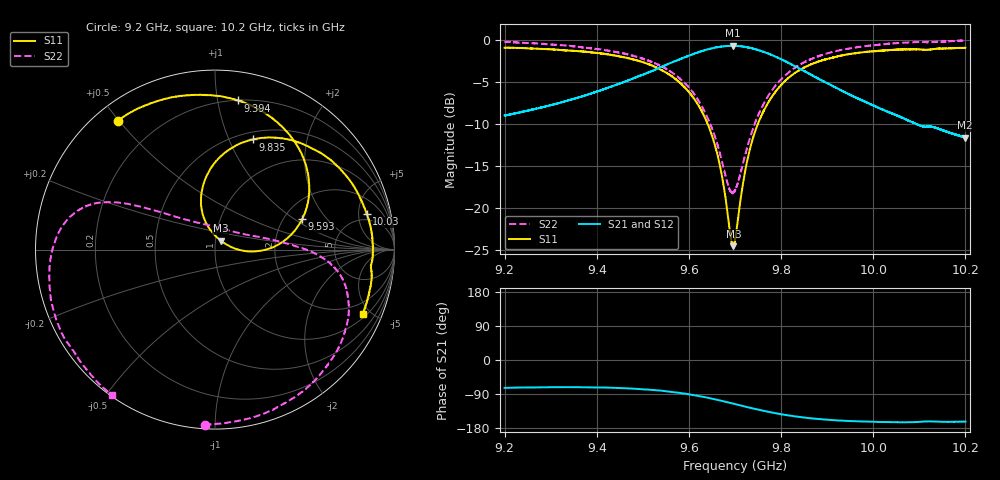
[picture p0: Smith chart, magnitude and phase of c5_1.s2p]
!Agilent Technologies,N5242A,MY51221714,A.09.90.19
!Agilent N5242A: A.09.90.19
!Date: Saturday, March 16, 2024 10:01:34
!Correction: S11(Full 2 Port(1,2))
!S21(Full 2 Port(1,2))
!S12(Full 2 Port(1,2))
!S22(Full 2 Port(1,2))
!S2P File: Measurements: S11, S21, S12, S22:
# Hz S  dB  R 50
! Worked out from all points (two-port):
!   16001 points, 9.2 GHz to 10.2 GHz, reference 50 ohm
!   highest |S21| = -0.69 dB at 9.696 GHz (marker M1); lowest = -11.6 dB at 10.2 GHz (marker M2)
!   |S21| within 3 dB of the highest: 9.52028 GHz to 9.520356 GHz (76.01 kHz wide, 0.000798 % of centre); 9.52 GHz to 9.85 GHz (329.3 MHz wide, 3.4 % of centre)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
!   lowest |S11| = -24.6 dB at 9.697 GHz (marker M3), VSWR 1.13, Z = 53.1 + j5.22 ohm
!   |S11| at or under -10 dB: 9.641 GHz to 9.75 GHz (108.9 MHz wide, 1.12 % of centre)
!   |S22| runs from -18.3 to -0.1 dB; largest |S21 - S12| = 0.012
!   S11 on the Smith chart (normalised r, x): 9.2 GHz: 0.07, +0.50; 9.394 GHz: 0.20, +1.14; 9.593 GHz: 2.51, +1.15; 9.835 GHz: 0.58, +1.23; 10.03 GHz: 3.95, +6.28; 10.2 GHz: 1.21, -4.47
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9.2e9  -0.93 126.9  -9.01 -73.5  -9.00 -74.1  -0.21 -93.4
9.277625e9  -1.06 109.4  -8.08 -72.1  -8.06 -72.6  -0.44 -72.0
9.366688e9  -1.37 88.3  -6.76 -71.9  -6.73 -72.4  -0.86 -48.5
9.394e9  -1.51 81.4  -6.26 -72.1  -6.25 -72.8  -1.03 -41.5
9.463812e9  -2.12 62.3  -4.91 -74.7  -4.90 -75.2  -1.67 -25.4
9.533375e9  -3.38 40.7  -3.37 -80.2  -3.36 -80.7  -2.94 -11.4
9.593188e9  -5.78 19.2  -2.02 -89.2  -2.01 -89.7  -5.27 -1.6
9.653e9  -11.92 -1.4  -0.96 -102.8  -0.95 -103.3  -10.99 13.2
9.695875e9  -24.52 52.0  -0.69 -115.0  -0.67 -115.7  -18.20 78.7
9.696562e9  -24.58 56.0  -0.70 -115.3  -0.68 -115.9  -18.20 80.6
9.7e9  -23.90 72.2  -0.71 -116.3  -0.68 -116.9  -17.98 90.4
9.72375e9  -15.15 109.2  -0.83 -123.5  -0.82 -124.1  -13.38 131.1
9.7475e9  -10.30 104.7  -1.16 -130.2  -1.14 -130.8  -9.34 144.0
9.785188e9  -6.38 90.5  -1.92 -139.7  -1.92 -140.4  -5.62 151.5
9.8355e9  -3.75 70.9  -3.28 -149.5  -3.27 -150.2  -3.11 158.1
9.866688e9  -2.87 59.8  -4.20 -154.1  -4.19 -154.7  -2.25 162.4
9.949188e9  -1.67 34.5  -6.52 -161.0  -6.51 -161.6  -1.01 176.8
1.0031e10  -1.23 13.1  -8.55 -163.9  -8.54 -164.3  -0.46 -165.9
1.003338e10  -1.22 12.5  -8.61 -163.8  -8.59 -164.4  -0.44 -165.4
1.010419e10  -1.14 -4.1  -10.25 -163.0  -10.25 -163.5  -0.23 -149.3
1.019962e10  -0.94 -23.6  -11.64 -162.5  -11.62 -163.3  -0.06 -125.5
1.02e10  -0.94 -23.6  -11.64 -162.6  -11.63 -163.3  -0.06 -125.4
